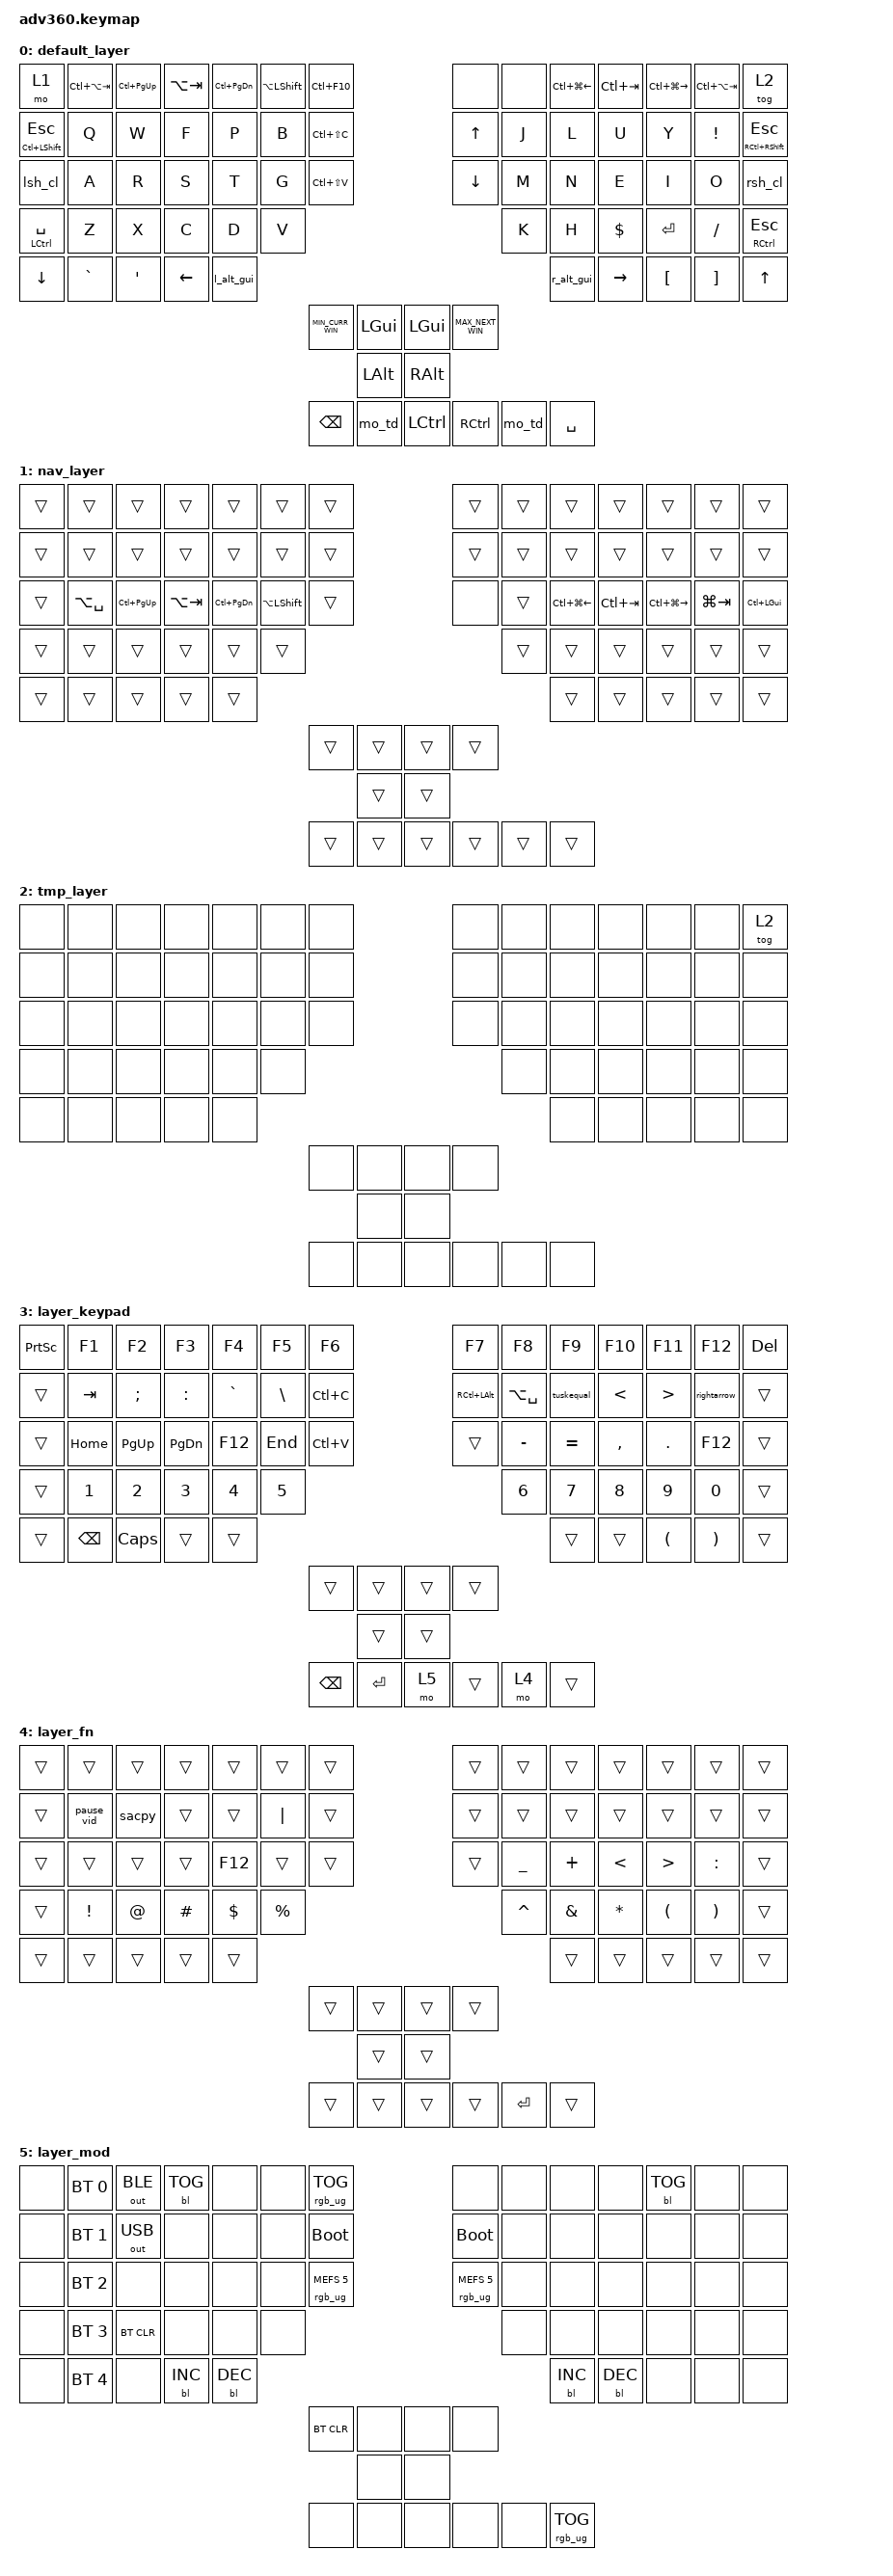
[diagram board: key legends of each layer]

/*
 * Copyright (c) 2020 The ZMK Contributors
 *
 * SPDX-License-Identifier: MIT
 */


/* THIS FILE WAS GENERATED!
 *
 * This file was generated automatically. You may or may not want to
 * edit it directly.
 */

#include <behaviors.dtsi>
#include <dt-bindings/zmk/keys.h>
#include <dt-bindings/zmk/bt.h>
#include <dt-bindings/zmk/rgb.h>
#include <dt-bindings/zmk/backlight.h>
#include <dt-bindings/zmk/outputs.h>


&sl {
    release-after-ms = <400>;
};

/ {
  behaviors {
    #include "macros.dtsi"

    hm: homerow_mods {
        compatible = "zmk,behavior-hold-tap";
        label = "HOMEROW_MODS";
        #binding-cells = <2>;
        tapping-term-ms = <200>;
        quick_tap_ms = <175>;
        flavor = "tap-preferred";
        bindings = <&kp>, <&kp>;
    };
    lbhm: left_balanced_homerow_mods {
        compatible = "zmk,behavior-hold-tap";
        label = "LEFT_BALANCED_HOMEROW_MODS";
        #binding-cells = <2>;
        tapping-term-ms = <100>;    // <---[[moderate duration]]
        quick-tap-ms = <0>;
        flavor = "balanced";
        bindings = <&kp>, <&kp>;
        hold-trigger-key-positions = < 15 16 17 18 19 20 21 37 38 39 40 41 42 43 59 60 61 62 63 64 65 82 83 84 85 86 87 105 106 107 108 109 56 57 78 100 101 102 >;
    };

   rbhm: right_balanced_homerow_mods {
     compatible = "zmk,behavior-hold-tap";
     label = "RIGHT_BALANCED_HOMEROW_MODS";
     #binding-cells = <2>;
     tapping-term-ms = <100>;    // <---[[moderate duration]]
     quick-tap-ms = <0>;
     flavor = "balanced";
     bindings = <&kp>, <&kp>;
     hold-trigger-key-positions = < 0  1  2  3  4  5  6 22 23 24 25 26 27 28 44 45 46 47 48 49 50 66 67 68 69 70 71 88 89 90 91 92 52 53 75 95 96 97 >;
 };

    pht: positional_hold_tap {
        compatible = "zmk,behavior-hold-tap";
        label = "POSITIONAL_HOLD_TAP";
        #binding-cells = <2>;
        flavor = "hold-preferred";
        tapping-term-ms = <180>;
        bindings = <&kp>, <&kp>;
    }; /* quick-tap-ms = <100>; */
    mo_td: tap_dance_mod_tap {
      compatible = "zmk,behavior-tap-dance";
      label = "TAP_DANCE_MOD_TAP";
      #binding-cells = <0>;
      tapping-term-ms = <200>;
      bindings = <&sl 3>, <&sl 4>;
    };
    l_alt_gui: l_alt_or_gui {
      compatible = "zmk,behavior-tap-dance";
      label = "L_ALT_OR_GUI";
      #binding-cells = <0>;
      tapping-term-ms = <200>;
      bindings = <&kp LALT>, <&kp LGUI>;
    };
    r_alt_gui: r_alt_or_gui {
      compatible = "zmk,behavior-tap-dance";
      label = "R_ALT_OR_GUI";
      #binding-cells = <0>;
      tapping-term-ms = <200>;
      bindings = <&kp RALT>, <&kp RGUI>;
    };
    l_ctrl_shft: l_ctrl_or_shft {
      compatible = "zmk,behavior-tap-dance";
      label = "L_CTRL_OR_SHFT";
      #binding-cells = <0>;
      tapping-term-ms = <80>;
      bindings = <&kp LCTRL>, <&kp LSHFT>;
    };
    r_ctrl_shft: r_ctrl_or_shft {
      compatible = "zmk,behavior-tap-dance";
      label = "R_CTRL_OR_SHFT";
      #binding-cells = <0>;
      tapping-term-ms = <80>;
      bindings = <&kp RCTRL>, <&kp RSHFT>;
    };

    skq: sticky_key_quick_release {
      compatible = "zmk,behavior-sticky-key";
      label = "STICKY_KEY_QUICK_RELEASE";
      #binding-cells = <1>;
      bindings = <&kp>;
      release-after-ms = <400>;
      quick-release;
    };
    rsh_cl: r_shift_or_cap_lock {
      compatible = "zmk,behavior-tap-dance";
      label = "R_SHIFT_OR_CAP_LOCK";
      #binding-cells = <0>;
      tapping-term-ms = <200>;
      bindings = <&skq RSHFT>, <&kp CAPS>;
    };
    lsh_cl: l_shift_or_cap_lock {
      compatible = "zmk,behavior-tap-dance";
      label = "L_SHIFT_OR_CAP_LOCK";
      #binding-cells = <0>;
      tapping-term-ms = <200>;
      bindings = <&skq LSHFT>, <&kp CAPS>;
    };
  };

  macros {
    ZMK_MACRO(KR_SI,
        wait-ms = <0>;
        tap-ms = <0>;
        bindings
            = <&macro_press &kp S>
            , <&macro_wait_time 10>
            , <&macro_press &kp I>
            , <&macro_pause_for_release>
            , <&macro_release &kp I>
            , <&macro_wait_time 10>
            , <&macro_release &kp S>
        ;
    )
    ZMK_MACRO(KR_IN,
        wait-ms = <0>;
        tap-ms = <20>;
        bindings
            = <&macro_tap &kp I>
            , <&macro_wait_time 10>
            , <&macro_tap &kp N>
            , <&macro_wait_time 40>
            , <&macro_tap &kp N>
            , <&macro_wait_time 40>
            , <&macro_tap &kp N>
            , <&macro_wait_time 40>
            , <&macro_tap &kp N>
            , <&macro_wait_time 40>
            , <&macro_tap &kp N>
            , <&macro_wait_time 40>
            , <&macro_tap &kp N>
            , <&macro_wait_time 40>
            , <&macro_tap &kp N>
            , <&macro_wait_time 40>
        ;
    )
    ZMK_MACRO(KR_SPAM_N,
        wait-ms = <0>;
        tap-ms = <20>;
        bindings
            = <&macro_tap &kp N>
            , <&macro_wait_time 40>
            , <&macro_tap &kp N>
            , <&macro_wait_time 40>
            , <&macro_tap &kp N>
            , <&macro_wait_time 40>
            , <&macro_tap &kp N>
            , <&macro_wait_time 40>
            , <&macro_tap &kp N>
            , <&macro_wait_time 40>
            , <&macro_tap &kp N>
            , <&macro_wait_time 40>
            , <&macro_tap &kp N>
            , <&macro_wait_time 40>
        ;
    )
    sacpy: sacpy {
        label = "sacpy";
        compatible = "zmk,behavior-macro";
        #binding-cells = <0>;
        wait-ms = <0>;
        tap-ms = <0>;
        bindings
            = <&kp LC(A)>
            , <&kp BSPC>
            , <&kp LC(V)>
            , <&kp LC(S)>
            ;
    };
    pause_vid: pause_vid {
        label = "pause_vid";
        compatible = "zmk,behavior-macro";
        #binding-cells = <0>;
        wait-ms = <150>;
        bindings
            = <&macro_tap_time 10>
            , <&kp LA(TAB)>
            , <&kp SPACE>
            , <&macro_tap_time 10>
            , <&kp LA(TAB)>
            ;
    };
    prependx: prependx {
        label = "prependx";
        compatible = "zmk,behavior-macro";
        #binding-cells = <0>;
        wait-ms = <0>;
        tap-ms = <0>;
        bindings
            = <&kp HOME>
            , <&kp X>
            , <&kp END>
            ;
    };
    tuskequal: tuskequal {
        label = "tuskequal";
        compatible = "zmk,behavior-macro";
        #binding-cells = <0>;
        wait-ms = <0>;
        tap-ms = <0>;
        bindings
            = <&kp COLON>
            , <&kp EQUAL>
            ;
    };
    ZMK_MACRO(MIN_CURR_WIN,
        wait-ms = <50>;
        tap-ms = <100>;
        bindings
            = <&kp LA(SPACE)>
            , <&kp N>
        ;
    )
    ZMK_MACRO(MAX_NEXT_WIN,
        wait-ms = <50>;
        tap-ms = <100>;
        bindings
            = <&kp LC(LA(TAB))>
            , <&kp RET>
        ;
    )
    leftarrow: leftarrow {
        label = "leftarrow";
        compatible = "zmk,behavior-macro";
        #binding-cells = <0>;
        wait-ms = <0>;
        tap-ms = <0>;
        bindings
            = <&kp LT>
            , <&kp MINUS>
            ;
    };
    rightarrow: rightarrow {
        label = "rightarrow";
        compatible = "zmk,behavior-macro";
        #binding-cells = <0>;
        wait-ms = <0>;
        tap-ms = <0>;
        bindings
            = <&kp MINUS>
            , <&kp GT>
            ;
    };
  };

  keymap {
        compatible = "zmk,keymap";

// -----------------------------------------------------------------------           ---------------------------------------------------------------------
// |   TAB    |         |         |         |         |         |  None  |           | None |         |         |         |         |          |   LOCK   |
// |LC(LSHFT) |    Q    |    W    |    F    |    P    |    B    | CTRL+C |           |  UP  |    J    |    L    |    U    |    Y    |    !     | LC(LSHFT)|
// |LSHFT/CAPS|    A    |    R    |    S    |    T    |    G    | CTRL+V |           | DOWN |    M    |    N    |    E    |    I    |    O     |RSHFT/CAPS|
// | LC/SPACE |    Z    |    X    |    C    |    D    |    V    |---------           -------|    K    |    H    |    $    |  ENTER  |    /     |RCTRL/ESC |
// |  DOWN    |    `    |    '    |  LEFT   | LALT/WIN|----------                           ----------|RALT/WIN |  RIGHT  |    [    |    ]     |   UP     |
// ----------------------------------------------------                                                ----------------------------------------------------
//
//                                                                        Thumb Cluster
//                                                       -----------------           ------------------
//                                                       |       | LGUI  |           | LGUI  |        |
//                                               -------------------------           ---------------------------
//                                               |       |       | LALT  |           | RALT  |        |        |
//                                               | BKSP  | LAYER |--------           --------| LAYER  |  BSPC  |
//                                               |       | SWITCH| LCTRL |           | RCTRL | SWITCH |        |
//                                               -------------------------           ---------------------------

// can first layer <> be something else? []/() be a good replacement?
// left hand enter? mirror pos from right - check
// TODO: toggle layer

        default_layer {
            bindings = <
 &mo 1             &kp LC(LA(TAB))    &kp LC(PG_UP) &kp LA(TAB) &kp LC(PG_DN)     &kp LA(LSHFT)     &kp LC(F10)                                                            &none         &none      &kp LC(LG(LEFT)) &kp LC(TAB)    &kp LC(LG(RIGHT))  &kp LC(LA(TAB)) &tog 2
&pht LC(LSHFT) ESC &kp Q              &kp W         &kp F       &kp P             &kp B             &kp LC(LS(C))                                                          &kp UP        &kp J      &kp L            &kp U          &kp Y              &kp EXCL        &pht RC(RSHFT) ESC
 &lsh_cl           &kp A              &kp R         &kp S       &kp T             &kp G             &kp LC(LS(V))                                                          &kp DOWN      &kp M      &kp N            &kp E          &kp I              &kp O           &rsh_cl
&pht LCTRL SPACE   &kp Z              &kp X         &kp C       &kp D             &kp V                                                                                                  &kp K      &kp H            &kp DLLR       &kp RET            &kp FSLH        &pht RCTRL ESC
 &kp DOWN          &kp GRAVE          &kp SQT       &kp LEFT    &l_alt_gui                                                                                                                          &r_alt_gui       &kp RIGHT      &kp LBKT           &kp RBKT        &kp UP

                                                                                                        &MIN_CURR_WIN &kp LGUI           &kp LGUI      &MAX_NEXT_WIN
                                                                                                                      &kp LALT           &kp RALT
                                                                                                    &kp BSPC  &mo_td  &kp LCTRL          &kp RCTRL     &mo_td   &kp SPACE
            >;
        };

        nav_layer {
            bindings = <
 &trans          &trans         &trans        &trans     &trans            &trans            &trans                                                                   &trans        &trans     &trans           &trans         &trans             &trans       &trans
 &trans          &trans         &trans        &trans     &trans            &trans            &trans                                                                   &trans        &trans     &trans           &trans         &trans             &trans       &trans
 &trans      &kp LA(SPACE)     &kp LC(PG_UP) &kp LA(TAB) &kp LC(PG_DN)     &kp LA(LSHFT)     &trans                                                                   &none        &trans      &kp LC(LG(LEFT)) &kp LC(TAB)    &kp LC(LG(RIGHT))  &kp LG(TAB)  &kp LC(LGUI)
 &trans          &trans         &trans        &trans     &trans            &trans                                                                                                   &trans     &trans           &trans         &trans             &trans       &trans
 &trans          &trans         &trans        &trans     &trans                                                                                                                                &trans           &trans         &trans             &trans       &trans

                                                                                                              &trans  &trans             &trans      &trans
                                                                                                                      &trans             &trans
                                                                                                     &trans   &trans  &trans             &trans      &trans     &trans
            >;
        };

        tmp_layer {
            bindings = <
&none   &none      &none      &none &none      &none      &none                                                                  &none     &none      &none  &none    &none     &none     &tog 2
&none   &none      &none      &none &none      &none      &none                                                                  &none     &none      &none  &none    &none     &none     &none
&none   &none      &none      &none &none      &none      &none                                                                  &none     &none      &none  &none    &none     &none     &none
&none   &none      &none      &none &none      &none                                                                                       &none      &none  &none    &none     &none     &none
&none   &none      &none      &none &none                                                                                                             &none  &none    &none     &none     &none

                                                                                                              &none  &none           &none     &none
                                                                                                                     &none           &none
                                                                                                      &none   &none  &none           &none     &none   &none
            >;
        };

        layer_keypad {
            bindings = <
 &kp PSCRN &kp F1     &kp F2    &kp F3    &kp F4     &kp F5                 &kp F6                                                                             &kp F7       &kp F8        &kp F9      &kp F10    &kp F11   &kp F12     &kp DEL
  &trans   &kp TAB    &kp SEMI  &kp COLON &kp GRAVE  &kp BSLH               &kp LC(C)                                                                          &kp RC(LALT) &kp LA(SPACE) &tuskequal  &kp LT     &kp GT    &rightarrow &trans
  &trans   &kp HOME   &kp PG_UP &kp PG_DN &kp F12    &kp END                &kp LC(V)                                                                          &trans       &kp MINUS     &kp EQUAL   &kp COMMA  &kp DOT   &kp F12     &trans
  &trans   &kp N1     &kp N2    &kp N3    &kp N4     &kp N5                                                                                                                 &kp N6        &kp N7      &kp N8     &kp N9    &kp N0      &trans
  &trans   &kp BSPC   &kp CAPS  &trans    &trans                                                                                                                                         &trans      &trans     &kp LPAR  &kp RPAR    &trans

                                                                                                  &trans    &trans               &trans   &trans
                                                                                                            &trans               &trans
                                                                                       &kp BSPC   &kp RET   &mo 5               &trans    &mo 4   &trans


            >;
        };

        layer_fn {
            bindings = <
 &trans  &trans   &trans  &trans  &trans      &trans                            &trans                                                                   &trans  &trans     &trans   &trans    &trans     &trans    &trans
&trans &pause_vid &sacpy  &trans  &trans     &kp PIPE                          &trans                                                                   &trans  &trans     &trans   &trans   &trans      &trans    &trans
 &trans  &trans   &trans  &trans  &kp F12     &trans                            &trans                                                                   &trans  &kp UNDER  &kp PLUS &kp LT   &kp GT      &kp COLON &trans
 &trans  &kp EXCL &kp AT  &kp POUND  &kp DLLR &kp PRCNT                                                                                                      &kp CARET  &kp AMPS &kp STAR  &kp LPAR   &kp RPAR  &trans
 &trans  &trans   &trans  &trans  &trans                                                                                                                                &trans   &trans    &trans     &trans    &trans

                                                                                       &trans  &trans                 &trans     &trans
                                                                                               &trans                 &trans
                                                                               &trans  &trans  &trans                 &trans     &kp RET      &trans

            >;
        };

        layer_mod {
            bindings = <
  &none  &bt BT_SEL 0  &out OUT_BLE    &bl BL_TOG         &none            &none            &rgb_ug RGB_TOG                                                                               &none                          &none   &none       &none  &bl BL_TOG   &none  &none
  &none  &bt BT_SEL 1  &out OUT_USB         &none         &none            &none            &bootloader                                                                                   &bootloader                    &none   &none       &none       &none   &none  &none
  &none  &bt BT_SEL 2         &none         &none         &none            &none            &rgb_ug RGB_MEFS_CMD 5                                                                       &rgb_ug RGB_MEFS_CMD 5          &none   &none       &none       &none   &none   &none
  &none  &bt BT_SEL 3    &bt BT_CLR         &none         &none            &none                                                                                                                                         &none   &none       &none       &none   &none   &none
  &none  &bt BT_SEL 4         &none    &bl BL_INC    &bl BL_DEC                                                                                                                                                                  &bl BL_INC  &bl BL_DEC  &none   &none   &none

                                                                                                                              &bt BT_CLR  &none                  &none       &none
                                                                                                                                          &none                  &none
                                                                                                              &none           &none       &none                  &none       &none &rgb_ug RGB_TOG

            >;
        };

    };
};

